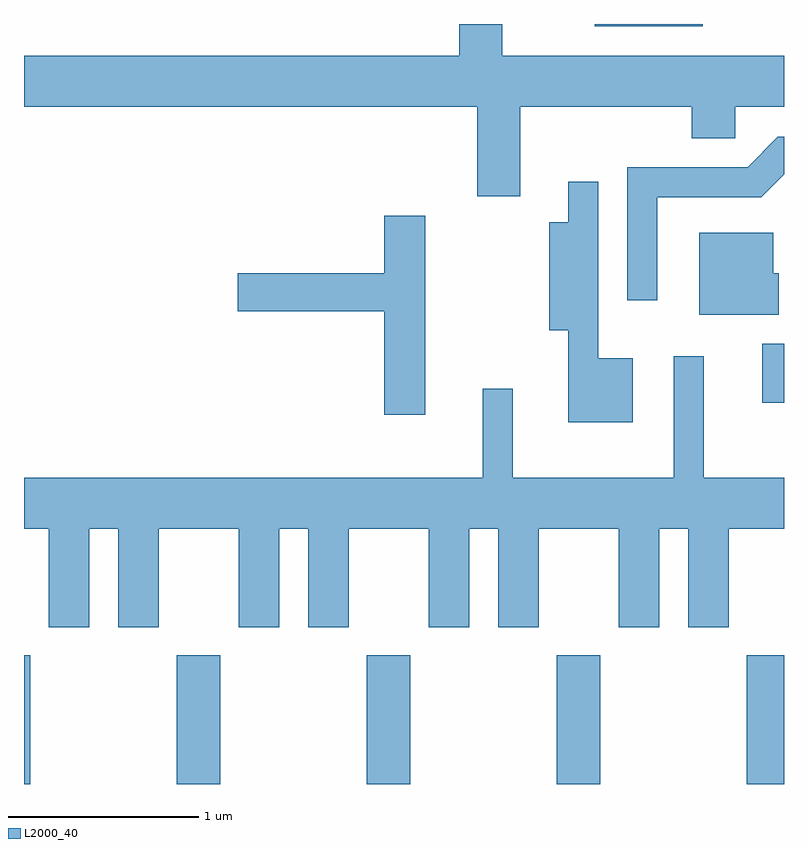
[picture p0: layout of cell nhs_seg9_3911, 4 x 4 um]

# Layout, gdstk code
import gdstk
lib = gdstk.Library(unit=1e-6, precision=1e-09)
def R(c, l, rs):  # rectangles x0, y0, x1, y1
    for r in rs: c.add(gdstk.rectangle(r[:2], r[2:], *l))
def A(c, l, x, y, w, h, nx, ny, dx, dy):  # array of equal rectangles
    R(c, l, [(x+i*dx, y+j*dy, x+i*dx+w, y+j*dy+h) for i in range(nx) for j in range(ny)])
def P(c, l, *ps):  # polygons
    for p in ps: c.add(gdstk.Polygon(p, *l))
L2000_40 = (2000, 40)

nhs_seg9_3911 = lib.new_cell('nhs_seg9_3911')
A(nhs_seg9_3911, L2000_40, 300.416, 2030.432, 0.228, 0.677, 3, 1, 1, 0)
R(nhs_seg9_3911, L2000_40, [(299.611,2030.432,299.644,2031.109), (303.416,2030.432,303.611,2031.109), (303.496,2032.438,303.611,2032.749), (302.616,2034.421,303.184,2034.432)])
P(nhs_seg9_3911, L2000_40, [(302.224,2033.996),(303.126,2033.996),(303.126,2033.831),(303.354,2033.831),(303.354,2033.996),(303.611,2033.996),(303.611,2034.264),(302.129,2034.264),(302.129,2034.432),(301.901,2034.432),(301.901,2034.264),(299.611,2034.264),(299.611,2033.996),(301.996,2033.996),(301.996,2033.526),(302.224,2033.526)],
  [(302.944,2033.521),(303.492,2033.521),(303.611,2033.64),(303.611,2033.839),(303.579,2033.839),(303.419,2033.679),(302.786,2033.679),(302.786,2032.978),(302.944,2032.978)],
  [(302.814,2032.674),(302.634,2032.674),(302.634,2033.603),(302.476,2033.603),(302.476,2033.389),(302.376,2033.389),(302.376,2032.821),(302.476,2032.821),(302.476,2032.336),(302.814,2032.336)],
  [(301.724,2033.424),(301.506,2033.424),(301.506,2033.119),(300.736,2033.119),(300.736,2032.921),(301.506,2032.921),(301.506,2032.376),(301.724,2032.376)],
  [(303.584,2033.119),(303.554,2033.119),(303.554,2033.334),(303.166,2033.334),(303.166,2032.901),(303.584,2032.901)],
  [(299.954,2031.776),(300.106,2031.776),(300.106,2031.256),(300.319,2031.256),(300.319,2031.776),(300.741,2031.776),(300.741,2031.256),(300.954,2031.256),(300.954,2031.776),(301.106,2031.776),(301.106,2031.256),(301.319,2031.256),(301.319,2031.776),(301.741,2031.776),(301.741,2031.256),(301.954,2031.256),(301.954,2031.776),(302.106,2031.776),(302.106,2031.256),(302.319,2031.256),(302.319,2031.776),(302.741,2031.776),(302.741,2031.256),(302.954,2031.256),(302.954,2031.776),(303.106,2031.776),(303.106,2031.256),(303.319,2031.256),(303.319,2031.776),(303.611,2031.776),(303.611,2032.044),(303.189,2032.044),(303.189,2032.683),(303.031,2032.683),(303.031,2032.044),(302.184,2032.044),(302.184,2032.513),(302.026,2032.513),(302.026,2032.044),(299.611,2032.044),(299.611,2031.776),(299.741,2031.776),(299.741,2031.256),(299.954,2031.256)])

lib.write_gds('nhs_seg9_3911.gds')
